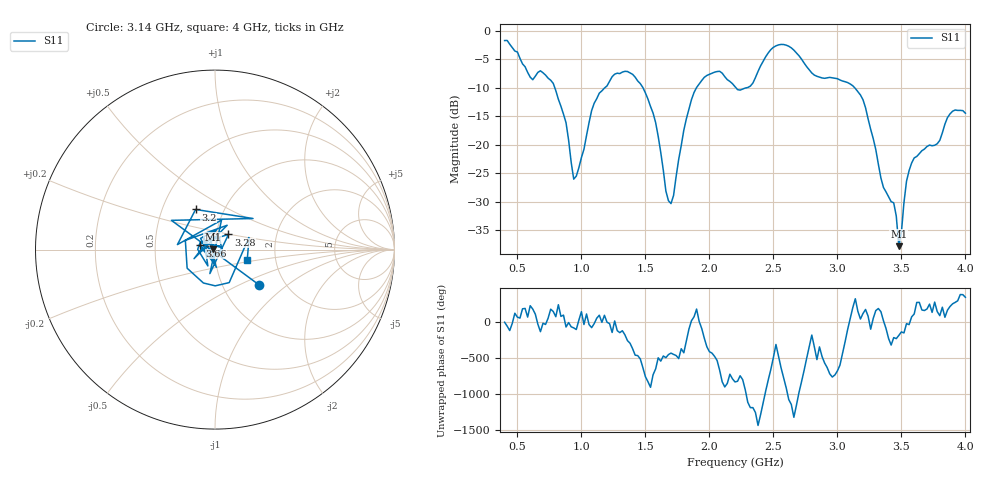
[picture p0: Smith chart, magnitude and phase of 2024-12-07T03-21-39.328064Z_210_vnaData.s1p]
!Created with skrf (http://scikit-rf.org).
# Hz S RI R 50.0
!freq ReS11 ImS11
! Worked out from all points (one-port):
!   181 points, 400 MHz to 4 GHz, reference 50 ohm
!   lowest |S11| = -37.8 dB at 3.48 GHz (marker M1), VSWR 1.03, Z = 48.7 + j0.184 ohm
!   |S11| at or under -10 dB: 792.2 MHz to 1.182 GHz (390 MHz wide, 39.5 % of centre); 1.481 GHz to 1.899 GHz (417.3 MHz wide, 24.7 % of centre); 3.135 GHz to end of sweep (the widest 3 of 4)
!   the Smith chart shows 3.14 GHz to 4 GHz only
!   S11 on the Smith chart (normalised r, x): 3.14 GHz: 1.48, -0.64; 3.2 GHz: 0.73, +0.35; 3.28 GHz: 1.14, +0.20; 3.66 GHz: 0.84, +0.04; 4 GHz: 1.42, -0.18
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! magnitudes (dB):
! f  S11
! 400 MHz  -1.7
! 620 MHz  -8.6
! 780 MHz  -9.2
! 860 MHz  -14.6
! 940 MHz  -26.0
! 1.1 GHz  -12.7
! 1.3 GHz  -7.5
! 1.52 GHz  -12.0
! 1.58 GHz  -16.1
! 1.68 GHz  -29.8
! 1.72 GHz  -28.9
! 1.76 GHz  -22.6
! 1.86 GHz  -12.1
! 1.94 GHz  -8.7
! 2.2 GHz  -9.8
! 2.32 GHz  -9.7
! 2.5 GHz  -2.9
! 2.66 GHz  -3.4
! 3.1 GHz  -9.3
! 3.14 GHz  -10.1
! 3.2 GHz  -12.1
! 3.28 GHz  -18.9
! 3.36 GHz  -27.5
! 3.44 GHz  -30.2
! 3.48 GHz  -37.8
! 3.56 GHz  -24.6
! 3.66 GHz  -21.1
! 4 GHz  -14.5
